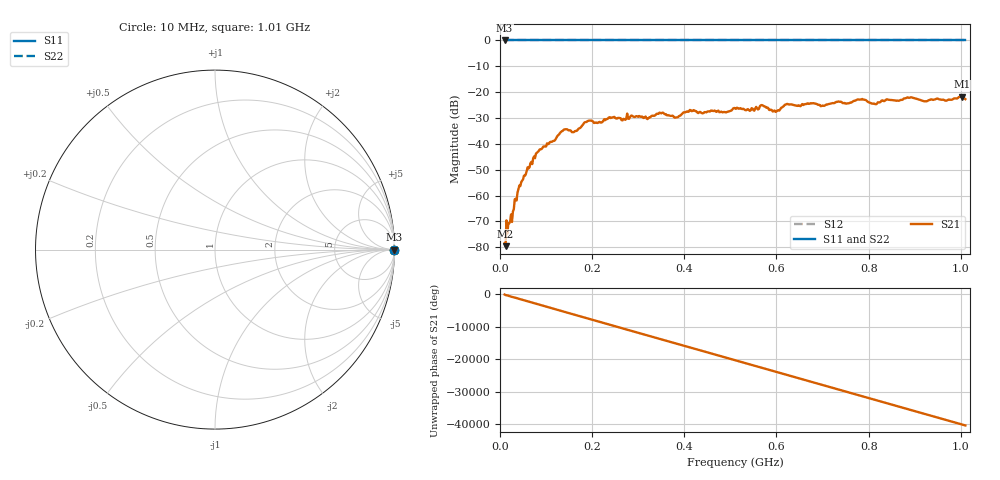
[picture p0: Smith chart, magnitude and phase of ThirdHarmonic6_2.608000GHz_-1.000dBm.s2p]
! 8/17/2025 5:41:37 AM
! C:\ANRITSUVNA\TEMP\TEMP.S2P
! CHANNEL.1
! TR.MEASUREMENT
! RAW.DATA
! RF.CORRECTION.OFF
! AVERAGING.OFF
! IF.BANDWIDTH: 5KHZ
! SWEEPTYPE:  FREQ.SWEEP(Linear)
! Reference Plane Port Info
! PORT:  PORT1  PORT2
! DISTANCE:  0  m  0  m
! TIME:  0  s  0  s
! PHASE.OFFSET:  0  deg.  0  deg.
! LOSS:  0  dB  0  dB
! REF.LOSS:  0  dB  0  dB
! REF.FREQ:  0  Hz  0  Hz
! Power Info
! POWER:  -20  dBm  -20  dBm
! EFF.POWER:  -20  dBm  -20  dBm
! SOURCE.ATTEN:  0  dB  0  dB
! TEST.ATTEN:  0  dB  0  dB
# GHZ S RI R 50.0
! FREQ.GHZ  S11RE  S11IM  S21RE  S21IM  S12RE  S12IM  S22RE  S22IM
!; PortSelection: Port_12
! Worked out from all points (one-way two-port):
!   501 points, 10 MHz to 1.01 GHz, reference 50 ohm
!   highest |S21| = -21.73 dB at 1.002 GHz (marker M1); lowest = -79.6 dB at 12 MHz (marker M2)
!   lowest |S11| = 0.0 dB at 10 MHz (marker M3)
!   |S11| at or under -10 dB: nowhere
!   |S22| runs from 0.0 to 0.0 dB; largest |S21 - S12| = 1.1
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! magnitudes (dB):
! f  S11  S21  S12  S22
! 10 MHz  0.0  -78.5  0.0  0.0
! 12 MHz  0.0  -79.6  0.0  0.0
! 42 MHz  0.0  -56.1  0.0  0.0
! 82 MHz  0.0  -43.1  0.0  0.0
! 136 MHz  0.0  -35.0  0.0  0.0
! 160 MHz  0.0  -35.5  0.0  0.0
! 178 MHz  0.0  -33.0  0.0  0.0
! 194 MHz  0.0  -31.0  0.0  0.0
! 322 MHz  0.0  -30.1  0.0  0.0
! 344 MHz  0.0  -28.4  0.0  0.0
! 382 MHz  0.0  -29.8  0.0  0.0
! 416 MHz  0.0  -27.4  0.0  0.0
! 510 MHz  0.0  -26.2  0.0  0.0
! 570 MHz  0.0  -25.1  0.0  0.0
! 596 MHz  0.0  -27.1  0.0  0.0
! 622 MHz  0.0  -24.6  0.0  0.0
! 678 MHz  0.0  -24.3  0.0  0.0
! 784 MHz  0.0  -22.8  0.0  0.0
! 814 MHz  0.0  -24.6  0.0  0.0
! 844 MHz  0.0  -23.0  0.0  0.0
! 1.002 GHz  0.0  -21.7  0.0  0.0
! 1.01 GHz  0.0  -22.7  0.0  0.0
